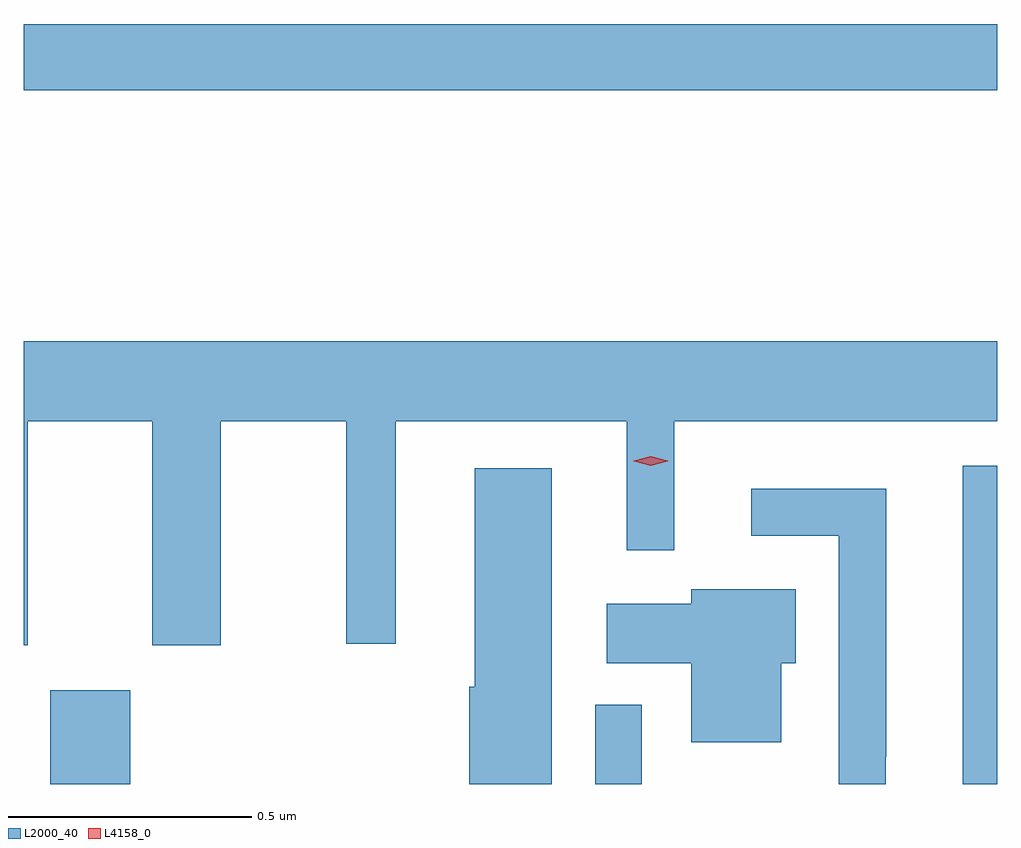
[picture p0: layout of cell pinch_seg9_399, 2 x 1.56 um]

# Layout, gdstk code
import gdstk
lib = gdstk.Library(unit=1e-6, precision=1e-09)
def R(c, l, rs):  # rectangles x0, y0, x1, y1
    for r in rs: c.add(gdstk.rectangle(r[:2], r[2:], *l))
def P(c, l, *ps):  # polygons
    for p in ps: c.add(gdstk.Polygon(p, *l))
L2000_40 = (2000, 40)
L4158_0 = (4158, 0)

pinch_seg9_399 = lib.new_cell('pinch_seg9_399')
R(pinch_seg9_399, L2000_40, [(286.109,1232.97,286.273,1233.163), (287.229,1232.97,287.325,1233.133), (287.984,1232.97,288.055,1233.624), (286.055,1234.396,288.055,1234.532)])
P(pinch_seg9_399, L2000_40, [(286.063,1233.716),(286.319,1233.716),(286.319,1233.255),(286.459,1233.255),(286.459,1233.716),(286.717,1233.716),(286.717,1233.258),(286.819,1233.258),(286.819,1233.716),(287.294,1233.716),(287.294,1233.45),(287.392,1233.45),(287.392,1233.716),(288.055,1233.716),(288.055,1233.88),(286.055,1233.88),(286.055,1233.255),(286.063,1233.255)],
  [(287.14,1233.619),(286.982,1233.619),(286.982,1233.17),(286.97,1233.17),(286.97,1232.97),(287.14,1232.97)],
  [(287.826,1233.026),(287.827,1233.026),(287.827,1233.577),(287.55,1233.577),(287.55,1233.48),(287.73,1233.48),(287.73,1232.97),(287.826,1232.97)],
  [(287.611,1233.218),(287.641,1233.218),(287.641,1233.37),(287.426,1233.37),(287.426,1233.34),(287.253,1233.34),(287.253,1233.218),(287.426,1233.218),(287.426,1233.056),(287.611,1233.056)])
P(pinch_seg9_399, L4158_0, [(287.343,1233.624),(287.308,1233.633),(287.308,1233.634),(287.308,1233.634),(287.343,1233.644),(287.378,1233.634),(287.379,1233.634),(287.378,1233.633)])

lib.write_gds('pinch_seg9_399.gds')
